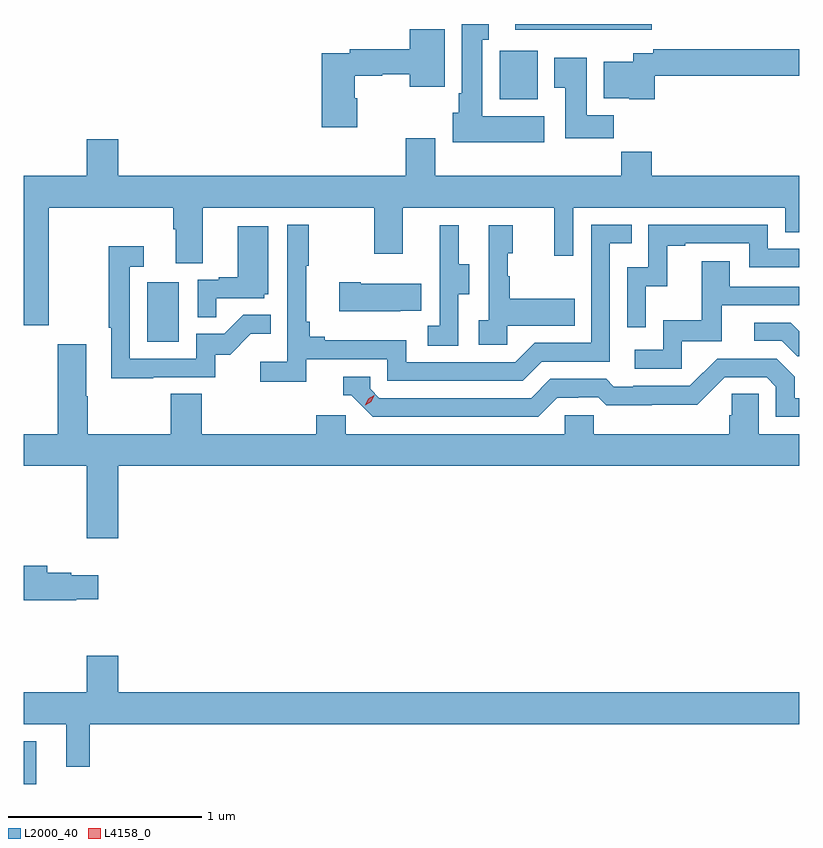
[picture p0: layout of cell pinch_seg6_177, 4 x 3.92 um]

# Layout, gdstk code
import gdstk
lib = gdstk.Library(unit=1e-6, precision=1e-09)
def R(c, l, rs):  # rectangles x0, y0, x1, y1
    for r in rs: c.add(gdstk.rectangle(r[:2], r[2:], *l))
def P(c, l, *ps):  # polygons
    for p in ps: c.add(gdstk.Polygon(p, *l))
L2000_40 = (2000, 40)
L4158_0 = (4158, 0)

pinch_seg6_177 = lib.new_cell('pinch_seg6_177')
R(pinch_seg6_177, L2000_40, [(1015.832,933.707,1015.897,933.928), (1016.468,935.988,1016.632,936.295), (1018.287,937.238,1018.483,937.488), (1018.367,937.598,1019.072,937.627)])
P(pinch_seg6_177, L2000_40, [(1018.516,937.15),(1018.198,937.15),(1018.198,937.547),(1018.231,937.547),(1018.231,937.627),(1018.091,937.627),(1018.091,937.27),(1018.076,937.27),(1018.076,937.17),(1018.046,937.17),(1018.046,937.016),(1018.516,937.016)],
  [(1017.551,937.245),(1017.538,937.245),(1017.538,937.36),(1017.681,937.36),(1017.681,937.368),(1017.824,937.368),(1017.824,937.304),(1018.003,937.304),(1018.003,937.6),(1017.824,937.6),(1017.824,937.496),(1017.514,937.496),(1017.514,937.476),(1017.368,937.476),(1017.368,937.095),(1017.551,937.095)],
  [(1019.086,937.36),(1019.832,937.36),(1019.832,937.496),(1019.08,937.496),(1019.08,937.476),(1018.977,937.476),(1018.977,937.432),(1018.823,937.432),(1018.823,937.244),(1018.956,937.244),(1018.956,937.238),(1019.086,937.238)],
  [(1018.874,937.156),(1018.735,937.156),(1018.735,937.453),(1018.568,937.453),(1018.568,937.297),(1018.625,937.297),(1018.625,937.038),(1018.874,937.038)],
  [(1015.96,936.68),(1016.603,936.68),(1016.603,936.568),(1016.615,936.568),(1016.615,936.394),(1016.755,936.394),(1016.755,936.68),(1017.64,936.68),(1017.64,936.441),(1017.787,936.441),(1017.787,936.68),(1018.568,936.68),(1018.568,936.432),(1018.665,936.432),(1018.665,936.68),(1019.76,936.68),(1019.76,936.553),(1019.832,936.553),(1019.832,936.844),(1019.072,936.844),(1019.072,936.968),(1018.915,936.968),(1018.915,936.844),(1017.955,936.844),(1017.955,937.039),(1017.803,937.039),(1017.803,936.844),(1016.32,936.844),(1016.32,937.033),(1016.156,937.033),(1016.156,936.844),(1015.832,936.844),(1015.832,936.074),(1015.96,936.074)],
  [(1017.29,935.898),(1017.708,935.898),(1017.708,935.787),(1018.405,935.787),(1018.504,935.886),(1018.854,935.886),(1018.854,936.495),(1018.967,936.495),(1018.967,936.591),(1018.758,936.591),(1018.758,935.982),(1018.467,935.982),(1018.368,935.883),(1017.804,935.883),(1017.804,935.995),(1017.385,935.995),(1017.385,936.014),(1017.308,936.014),(1017.308,936.091),(1017.289,936.091),(1017.289,936.379),(1017.301,936.379),(1017.301,936.592),(1017.192,936.592),(1017.192,935.884),(1017.051,935.884),(1017.051,935.782),(1017.29,935.782)],
  [(1019.04,936.275),(1019.15,936.275),(1019.15,936.483),(1019.245,936.483),(1019.245,936.495),(1019.574,936.495),(1019.574,936.372),(1019.832,936.372),(1019.832,936.468),(1019.67,936.468),(1019.67,936.591),(1019.052,936.591),(1019.052,936.372),(1018.944,936.372),(1018.944,936.063),(1019.04,936.063)],
  [(1018.074,936.232),(1018.129,936.232),(1018.129,936.387),(1018.075,936.387),(1018.075,936.589),(1017.977,936.589),(1017.977,936.375),(1017.978,936.375),(1017.978,936.071),(1017.915,936.071),(1017.915,935.968),(1018.074,935.968)],
  [(1018.326,936.071),(1018.673,936.071),(1018.673,936.211),(1018.339,936.211),(1018.339,936.326),(1018.329,936.326),(1018.329,936.444),(1018.354,936.444),(1018.354,936.589),(1018.23,936.589),(1018.23,936.098),(1018.179,936.098),(1018.179,935.973),(1018.326,935.973)],
  [(1016.825,936.213),(1017.072,936.213),(1017.072,936.234),(1017.094,936.234),(1017.094,936.583),(1016.936,936.583),(1016.936,936.322),(1016.837,936.322),(1016.837,936.309),(1016.73,936.309),(1016.73,936.115),(1016.825,936.115)],
  [(1016.501,935.805),(1016.82,935.805),(1016.82,935.922),(1016.896,935.922),(1017.003,936.029),(1017.107,936.029),(1017.107,936.128),(1016.963,936.128),(1016.865,936.03),(1016.721,936.03),(1016.721,935.901),(1016.379,935.901),(1016.379,936.375),(1016.452,936.375),(1016.452,936.481),(1016.271,936.481),(1016.271,936.061),(1016.283,936.061),(1016.283,935.8),(1016.501,935.8)],
  [(1019.226,935.991),(1019.431,935.991),(1019.431,936.177),(1019.832,936.177),(1019.832,936.273),(1019.473,936.273),(1019.473,936.403),(1019.329,936.403),(1019.329,936.1),(1019.13,936.1),(1019.13,935.946),(1018.983,935.946),(1018.983,935.85),(1019.226,935.85)],
  [(1017.773,936.149),(1017.881,936.149),(1017.881,936.286),(1017.571,936.286),(1017.571,936.294),(1017.459,936.294),(1017.459,936.146),(1017.773,936.146)],
  [(1019.832,936.043),(1019.788,936.087),(1019.601,936.087),(1019.601,935.994),(1019.742,935.994),(1019.822,935.914),(1019.832,935.914)],
  [(1018.585,935.7),(1018.692,935.7),(1018.692,935.703),(1018.795,935.703),(1018.837,935.661),(1019.07,935.661),(1019.07,935.663),(1019.306,935.663),(1019.448,935.805),(1019.664,935.805),(1019.712,935.757),(1019.712,935.601),(1019.832,935.601),(1019.832,935.697),(1019.809,935.697),(1019.809,935.807),(1019.715,935.901),(1019.409,935.901),(1019.268,935.76),(1018.975,935.76),(1018.975,935.757),(1018.876,935.757),(1018.837,935.796),(1018.548,935.796),(1018.449,935.697),(1017.666,935.697),(1017.618,935.745),(1017.618,935.808),(1017.479,935.808),(1017.479,935.712),(1017.522,935.712),(1017.633,935.601),(1018.486,935.601)],
  [(1019.485,935.72),(1019.485,935.61),(1019.471,935.61),(1019.471,935.512),(1018.773,935.512),(1018.773,935.61),(1018.623,935.61),(1018.623,935.512),(1017.492,935.512),(1017.492,935.61),(1017.341,935.61),(1017.341,935.512),(1016.75,935.512),(1016.75,935.72),(1016.59,935.72),(1016.59,935.512),(1016.163,935.512),(1016.163,935.708),(1016.155,935.708),(1016.155,935.974),(1016.008,935.974),(1016.008,935.512),(1015.832,935.512),(1015.832,935.348),(1016.156,935.348),(1016.156,934.974),(1016.32,934.974),(1016.32,935.348),(1019.832,935.348),(1019.832,935.512),(1019.622,935.512),(1019.622,935.72)],
  [(1016.102,934.661),(1016.215,934.661),(1016.215,934.783),(1016.076,934.783),(1016.076,934.796),(1015.954,934.796),(1015.954,934.832),(1015.832,934.832),(1015.832,934.654),(1016.102,934.654)],
  [(1016.173,934.016),(1019.832,934.016),(1019.832,934.18),(1016.32,934.18),(1016.32,934.369),(1016.156,934.369),(1016.156,934.18),(1015.832,934.18),(1015.832,934.016),(1016.051,934.016),(1016.051,933.795),(1016.173,933.795)])
P(pinch_seg6_177, L4158_0, [(1017.594,935.66),(1017.594,935.66),(1017.61,935.693),(1017.641,935.712),(1017.641,935.712),(1017.641,935.711),(1017.625,935.679),(1017.594,935.66)])

lib.write_gds('pinch_seg6_177.gds')
